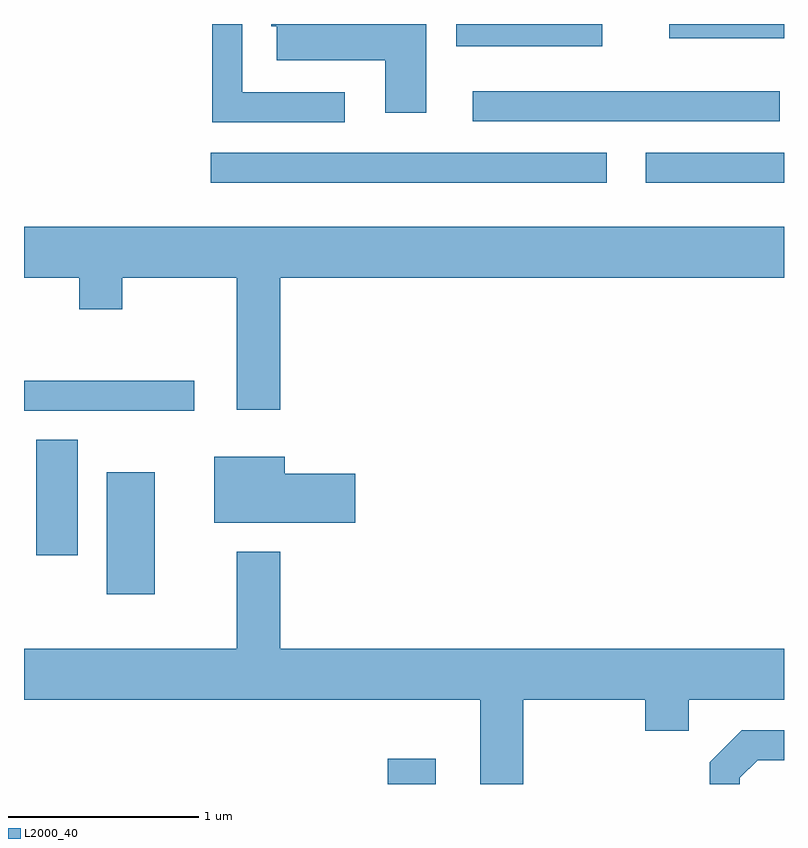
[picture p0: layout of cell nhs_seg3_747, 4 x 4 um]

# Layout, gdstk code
import gdstk
lib = gdstk.Library(unit=1e-6, precision=1e-09)
def R(c, l, rs):  # rectangles x0, y0, x1, y1
    for r in rs: c.add(gdstk.rectangle(r[:2], r[2:], *l))
def P(c, l, *ps):  # polygons
    for p in ps: c.add(gdstk.Polygon(p, *l))
L2000_40 = (2000, 40)

nhs_seg3_747 = lib.new_cell('nhs_seg3_747')
R(nhs_seg3_747, L2000_40, [(207.526,1249.892,207.779,1250.024), (206.046,1250.891,206.299,1251.534), (205.676,1251.096,205.894,1251.704), (205.611,1251.856,206.508,1252.014), (206.593,1253.056,208.678,1253.214), (208.883,1253.056,209.611,1253.214), (207.973,1253.381,209.588,1253.539), (207.886,1253.776,208.654,1253.892), (209.006,1253.816,209.611,1253.892)])
P(nhs_seg3_747, L2000_40, [(207.729,1253.892),(206.911,1253.892),(206.911,1253.881),(206.941,1253.881),(206.941,1253.701),(207.511,1253.701),(207.511,1253.426),(207.729,1253.426)],
  [(207.298,1253.534),(206.759,1253.534),(206.759,1253.892),(206.601,1253.892),(206.601,1253.376),(207.298,1253.376)],
  [(206.959,1252.556),(209.611,1252.556),(209.611,1252.824),(205.611,1252.824),(205.611,1252.556),(205.901,1252.556),(205.901,1252.391),(206.129,1252.391),(206.129,1252.556),(206.731,1252.556),(206.731,1251.861),(206.959,1251.861)],
  [(207.354,1251.524),(206.984,1251.524),(206.984,1251.614),(206.611,1251.614),(206.611,1251.266),(207.354,1251.266)],
  [(208.239,1250.336),(208.881,1250.336),(208.881,1250.171),(209.109,1250.171),(209.109,1250.336),(209.611,1250.336),(209.611,1250.604),(206.959,1250.604),(206.959,1251.114),(206.731,1251.114),(206.731,1250.604),(205.611,1250.604),(205.611,1250.336),(208.011,1250.336),(208.011,1249.892),(208.239,1249.892)],
  [(209.379,1249.924),(209.472,1250.016),(209.611,1250.016),(209.611,1250.174),(209.389,1250.174),(209.221,1250.007),(209.221,1249.892),(209.379,1249.892)])

lib.write_gds('nhs_seg3_747.gds')
